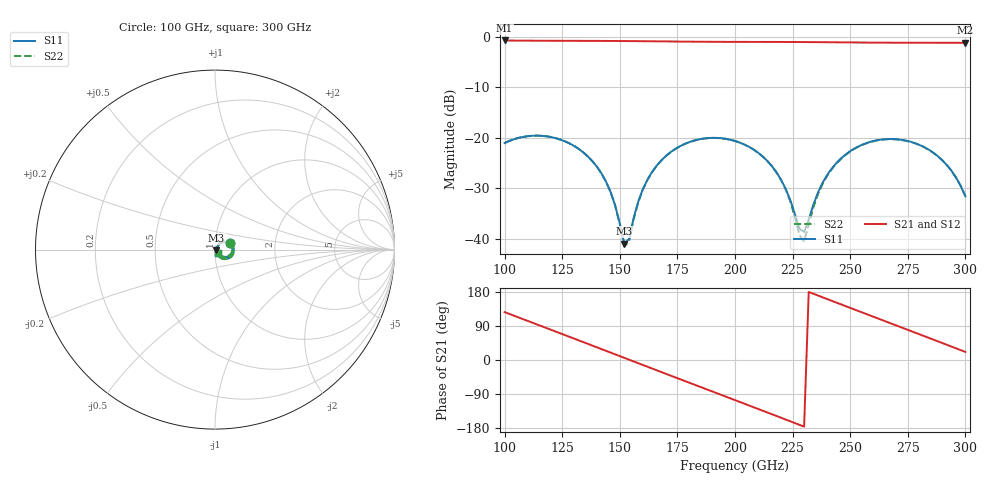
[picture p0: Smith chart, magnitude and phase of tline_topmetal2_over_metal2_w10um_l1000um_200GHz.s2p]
#  GHZ S DB R 50
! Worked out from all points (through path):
!   101 points, 100 GHz to 300 GHz, reference 50 ohm
!   highest |S21| = -0.78 dB at 100 GHz (marker M1); lowest = -1.2 dB at 300 GHz (marker M2)
!   group delay of S21, straight-line fit = 6.46 ps
!   lowest |S11| = -40.9 dB at 152 GHz (marker M3), VSWR 1.02, Z = 50.8 - j0.343 ohm
!   |S11| at or under -10 dB: start of sweep to end of sweep
!   |S22| runs from -41.4 to -19.6 dB; largest |S21 - S12| = 1e-13
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100  -21.05 23.7  -0.78 126.3  -0.78 126.3  -21.04 23.4
116  -19.62 -9.6  -0.83 89.3  -0.83 89.3  -19.61 -10.0
134  -22.84 -46.2  -0.86 47.6  -0.86 47.6  -22.83 -46.9
146  -30.72 -62.3  -0.88 19.6  -0.88 19.6  -30.72 -63.9
152  -40.90 -22.0  -0.89 5.6  -0.89 5.6  -41.42 -24.8
154  -39.96 25.3  -0.90 0.9  -0.90 0.9  -40.51 26.1
160  -30.17 54.0  -0.92 -13.1  -0.92 -13.1  -30.25 54.6
168  -24.48 44.2  -0.96 -31.7  -0.96 -31.7  -24.51 44.3
184  -20.36 13.0  -1.03 -68.8  -1.03 -68.8  -20.37 12.6
200  -20.64 -19.8  -1.06 -105.9  -1.06 -105.9  -20.64 -20.6
218  -26.82 -51.3  -1.07 -147.7  -1.07 -147.7  -26.86 -53.8
224  -32.32 -50.8  -1.08 -161.8  -1.08 -161.8  -32.57 -55.6
228  -37.98 -23.0  -1.09 -171.1  -1.09 -171.1  -39.31 -29.2
230  -38.64 11.0  -1.09 -175.8  -1.09 -175.8  -40.44 12.4
234  -33.23 47.7  -1.11 174.9  -1.11 174.9  -33.77 52.6
240  -27.35 50.7  -1.13 160.8  -1.13 160.8  -27.52 53.5
246  -24.08 42.6  -1.15 146.9  -1.15 146.9  -24.17 44.5
258  -20.91 20.2  -1.19 119.0  -1.19 119.0  -20.95 21.4
268  -20.25 0.1  -1.22 95.8  -1.22 95.8  -20.28 1.1
278  -21.05 -20.0  -1.23 72.6  -1.23 72.6  -21.08 -19.1
288  -23.63 -38.7  -1.23 49.3  -1.23 49.3  -23.65 -37.6
300  -31.60 -48.5  -1.24 21.3  -1.24 21.3  -31.48 -46.0
